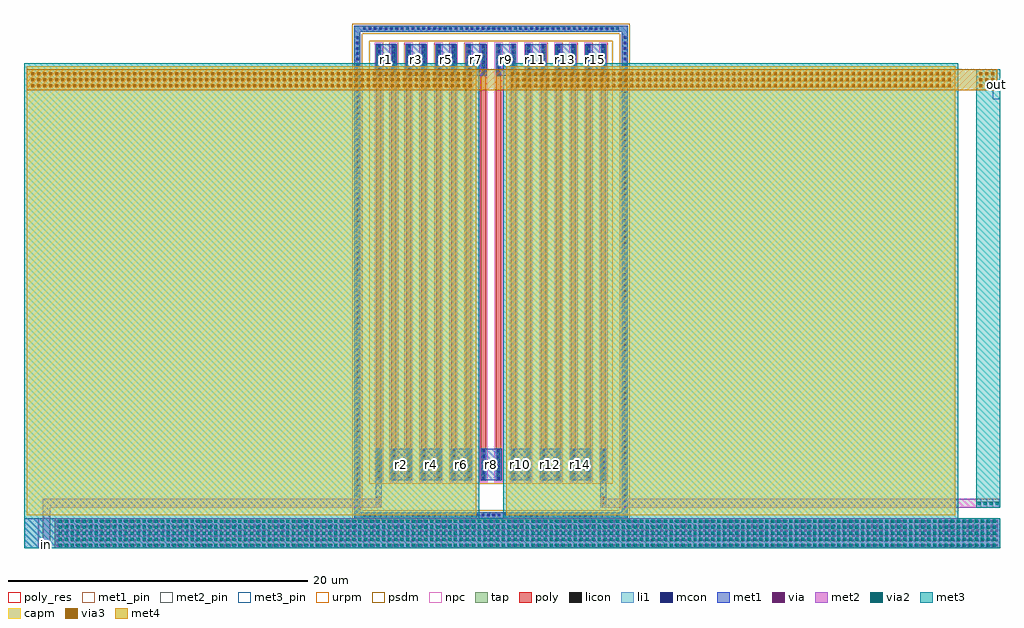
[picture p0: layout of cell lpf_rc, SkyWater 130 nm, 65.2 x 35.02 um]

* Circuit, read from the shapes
.subckt lpf_rc VSS in out r1 r10 r11 r12 r13 r14 r15 r2 r3 r4 r5 r6 r7 r8 r9
XC1 out VSS sky130_fd_pr__cap_mim_m3_1 w=30 l=30 m=2
XR2 r1 in VSS sky130_fd_pr__res_xhigh_po w=0.35 l=24.88
XR3 r1 r2 VSS sky130_fd_pr__res_xhigh_po w=0.35 l=24.88
XR4 r3 r2 VSS sky130_fd_pr__res_xhigh_po w=0.35 l=24.88
XR5 r3 r4 VSS sky130_fd_pr__res_xhigh_po w=0.35 l=24.88
XR6 r5 r4 VSS sky130_fd_pr__res_xhigh_po w=0.35 l=24.88
XR7 r5 r6 VSS sky130_fd_pr__res_xhigh_po w=0.35 l=24.88
XR8 r7 r6 VSS sky130_fd_pr__res_xhigh_po w=0.35 l=24.88
XR9 r7 r8 VSS sky130_fd_pr__res_xhigh_po w=0.35 l=24.88
XR10 r9 r8 VSS sky130_fd_pr__res_xhigh_po w=0.35 l=24.88
XR11 r9 r10 VSS sky130_fd_pr__res_xhigh_po w=0.35 l=24.88
XR12 r11 r10 VSS sky130_fd_pr__res_xhigh_po w=0.35 l=24.88
XR13 r11 r12 VSS sky130_fd_pr__res_xhigh_po w=0.35 l=24.88
XR14 r13 r12 VSS sky130_fd_pr__res_xhigh_po w=0.35 l=24.88
XR15 r13 r14 VSS sky130_fd_pr__res_xhigh_po w=0.35 l=24.88
XR16 r15 r14 VSS sky130_fd_pr__res_xhigh_po w=0.35 l=24.88
XR17 r15 out VSS sky130_fd_pr__res_xhigh_po w=0.35 l=24.88
.ends

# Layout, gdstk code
import gdstk
lib = gdstk.Library(unit=1e-6, precision=1e-09)
def R(c, l, rs):  # rectangles x0, y0, x1, y1
    for r in rs: c.add(gdstk.rectangle(r[:2], r[2:], *l))
def A(c, l, x, y, w, h, nx, ny, dx, dy):  # array of equal rectangles
    R(c, l, [(x+i*dx, y+j*dy, x+i*dx+w, y+j*dy+h) for i in range(nx) for j in range(ny)])
def P(c, l, *ps):  # polygons
    for p in ps: c.add(gdstk.Polygon(p, *l))
tap = (65, 44)
poly_res = (66, 13)
poly = (66, 20)
licon = (66, 44)
li1 = (67, 20)
mcon = (67, 44)
met1_pin = (68, 16)
met1 = (68, 20)
via = (68, 44)
met2_pin = (69, 16)
met2 = (69, 20)
via2 = (69, 44)
met3_pin = (70, 16)
met3 = (70, 20)
via3 = (70, 44)
met4 = (71, 20)
urpm = (79, 20)
capm = (89, 44)
psdm = (94, 20)
npc = (95, 20)

res_poly = lib.new_cell('res_poly')
R(res_poly, poly_res, [(-0.175,-12.5,0.175,12.5)])
R(res_poly, poly, [(-0.175,-14.6,0.175,14.6)])
R(res_poly, licon, [(-0.095,-14.52,0.095,-12.52), (-0.095,12.52,0.095,14.52)])
R(res_poly, li1, [(-0.175,-14.6,0.175,-12.44), (-0.175,12.44,0.175,14.6)])
A(res_poly, mcon, -0.085, -14.5, 0.17, 0.17, 1, 6, 0, 0.36)
A(res_poly, mcon, -0.085, 12.535, 0.17, 0.17, 1, 6, 0, 0.36)
R(res_poly, met1, [(-0.125,-14.57,0.125,-12.465), (-0.125,12.465,0.125,14.57)])
R(res_poly, urpm, [(-0.635,-14.8,0.635,14.8)])
R(res_poly, psdm, [(-0.285,-14.71,0.285,14.71)])
R(res_poly, npc, [(-0.27,-14.695,0.27,14.695)])

lpf_rc = lib.new_cell('lpf_rc')
P(lpf_rc, tap, [(22.065,2),(22.065,34.5),(22.465,34.5),(22.465,2.4),(39.935,2.4),(39.935,34.5),(22.065,34.5),(22.065,34.9),(40.335,34.9),(40.335,2)])
A(lpf_rc, licon, 22.655, 2.115, 0.17, 0.17, 48, 2, 0.36, 32.5)
A(lpf_rc, licon, 22.18, 2.705, 0.17, 0.17, 1, 88, 0, 0.36)
A(lpf_rc, licon, 40.05, 2.705, 0.17, 0.17, 1, 88, 0, 0.36)
P(lpf_rc, li1, [(22.065,2),(22.065,34.5),(22.465,34.5),(22.465,2.4),(39.935,2.4),(39.935,34.5),(22.065,34.5),(22.065,34.9),(40.335,34.9),(40.335,2)])
A(lpf_rc, mcon, 22.655, 2.115, 0.17, 0.17, 48, 2, 0.36, 32.5)
A(lpf_rc, mcon, 22.18, 2.705, 0.17, 0.17, 1, 88, 0, 0.36)
A(lpf_rc, mcon, 40.05, 2.705, 0.17, 0.17, 1, 88, 0, 0.36)
R(lpf_rc, met1_pin, [(0,0,1,2)])
A(lpf_rc, met1, 23.5, 4.53, 0.4, 2.105, 16, 2, 1, 27.035)
A(lpf_rc, met1, 24.5, 4.53, 1.4, 2.105, 7, 1, 2, 0)
A(lpf_rc, met1, 23.5, 31.565, 1.4, 2.105, 8, 1, 2, 0)
R(lpf_rc, met1, [(0,0,65.2,2), (2.05,0,65.2,2), (22.065,1.99,40.335,2.4), (23.5,2.7,23.9,6.635), (38.5,2.7,38.9,6.635), (23.57,2.84,23.83,3.48), (38.57,2.84,38.83,3.48)])
P(lpf_rc, met1, [(22.065,2),(22.065,34.5),(22.465,34.5),(22.465,2.4),(39.935,2.4),(39.935,34.5),(22.065,34.5),(22.065,34.9),(40.335,34.9),(40.335,2)])
A(lpf_rc, via, 2.19, 0.125, 0.15, 0.15, 197, 6, 0.32, 0.32)
R(lpf_rc, via, [(23.625,2.925,23.775,3.075), (38.625,2.925,38.775,3.075), (23.625,3.245,23.775,3.395), (38.625,3.245,38.775,3.395)])
R(lpf_rc, met2_pin, [(1.25,0,1.75,0.5)])
R(lpf_rc, met2, [(1.25,0,1.75,3.3), (2.05,0,65.2,2), (1.25,2.7,23.9,3.3), (38.5,2.7,65.2,3.3), (23.57,2.84,23.83,3.48), (38.57,2.84,38.83,3.48)])
A(lpf_rc, via2, 2.325, 0.1, 0.2, 0.2, 157, 5, 0.4, 0.4)
A(lpf_rc, via2, 63.7, 2.9, 0.2, 0.2, 4, 1, 0.4, 0)
R(lpf_rc, met3_pin, [(64.7,30,65.2,32)])
R(lpf_rc, met3, [(0,0,65.2,2), (2.05,0,65.2,2), (0,2,30.4,32.4), (32,2,62.4,32.4), (63.6,2.7,65.2,32)])
A(lpf_rc, via3, 0.5, 30.8, 0.2, 0.2, 74, 3, 0.4, 0.4)
A(lpf_rc, via3, 32.5, 30.8, 0.2, 0.2, 74, 3, 0.4, 0.4)
A(lpf_rc, via3, 63.8, 30.8, 0.2, 0.2, 3, 3, 0.4, 0.4)
R(lpf_rc, met4, [(0.2,30.6,65,32)])
R(lpf_rc, capm, [(0.2,2.2,30.2,32.2), (32.2,2.2,62.2,32.2)])
P(lpf_rc, psdm, [(21.94,1.875),(21.94,34.375),(22.59,34.375),(22.59,2.525),(39.81,2.525),(39.81,34.375),(21.94,34.375),(21.94,35.025),(40.46,35.025),(40.46,1.875)])
lpf_rc.add(gdstk.Reference(res_poly, (23.7,19.1)))
lpf_rc.add(gdstk.Reference(res_poly, (24.7,19.1)))
lpf_rc.add(gdstk.Reference(res_poly, (25.7,19.1)))
lpf_rc.add(gdstk.Reference(res_poly, (26.7,19.1)))
lpf_rc.add(gdstk.Reference(res_poly, (27.7,19.1)))
lpf_rc.add(gdstk.Reference(res_poly, (28.7,19.1)))
lpf_rc.add(gdstk.Reference(res_poly, (29.7,19.1)))
lpf_rc.add(gdstk.Reference(res_poly, (30.7,19.1)))
lpf_rc.add(gdstk.Reference(res_poly, (31.7,19.1)))
lpf_rc.add(gdstk.Reference(res_poly, (32.7,19.1)))
lpf_rc.add(gdstk.Reference(res_poly, (33.7,19.1)))
lpf_rc.add(gdstk.Reference(res_poly, (34.7,19.1)))
lpf_rc.add(gdstk.Reference(res_poly, (35.7,19.1)))
lpf_rc.add(gdstk.Reference(res_poly, (36.7,19.1)))
lpf_rc.add(gdstk.Reference(res_poly, (37.7,19.1)))
lpf_rc.add(gdstk.Reference(res_poly, (38.7,19.1)))
lpf_rc.add(gdstk.Label('in', (1.5,0.25), layer=69, texttype=5))
lpf_rc.add(gdstk.Label('out', (64.95,31), layer=70, texttype=5))
lpf_rc.add(gdstk.Label('VSS', (0.5,1), layer=68, texttype=5))
lpf_rc.add(gdstk.Label('r1', (24.2,32.618), layer=68, texttype=5))
lpf_rc.add(gdstk.Label('r2', (25.2,5.583), layer=68, texttype=5))
lpf_rc.add(gdstk.Label('r3', (26.2,32.618), layer=68, texttype=5))
lpf_rc.add(gdstk.Label('r4', (27.2,5.583), layer=68, texttype=5))
lpf_rc.add(gdstk.Label('r5', (28.2,32.618), layer=68, texttype=5))
lpf_rc.add(gdstk.Label('r6', (29.2,5.583), layer=68, texttype=5))
lpf_rc.add(gdstk.Label('r7', (30.2,32.618), layer=68, texttype=5))
lpf_rc.add(gdstk.Label('r8', (31.2,5.583), layer=68, texttype=5))
lpf_rc.add(gdstk.Label('r9', (32.2,32.618), layer=68, texttype=5))
lpf_rc.add(gdstk.Label('r10', (33.2,5.583), layer=68, texttype=5))
lpf_rc.add(gdstk.Label('r11', (34.2,32.618), layer=68, texttype=5))
lpf_rc.add(gdstk.Label('r12', (35.2,5.583), layer=68, texttype=5))
lpf_rc.add(gdstk.Label('r13', (36.2,32.618), layer=68, texttype=5))
lpf_rc.add(gdstk.Label('r14', (37.2,5.583), layer=68, texttype=5))
lpf_rc.add(gdstk.Label('r15', (38.2,32.618), layer=68, texttype=5))

lib.write_gds('lpf_rc.gds')
